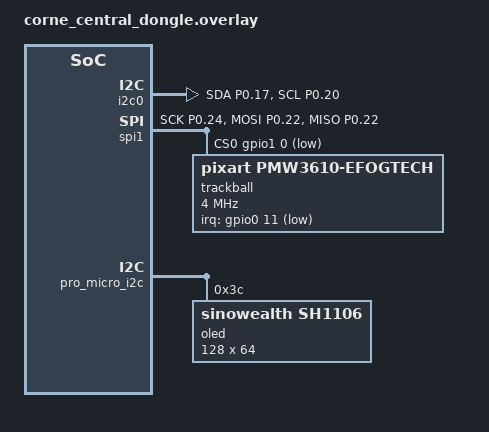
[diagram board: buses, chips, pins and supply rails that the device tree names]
#include "corne.dtsi"
#include <zephyr/dt-bindings/input/input-event-codes.h>

#include <dt-bindings/zmk/input_transform.h>

&pinctrl {
    i2c0_default: i2c0_default {
        group1 {
            psels = <NRF_PSEL(TWIM_SDA, 0, 17)>,
                <NRF_PSEL(TWIM_SCL, 0, 20)>;
        };
    };

    i2c0_sleep: i2c0_sleep {
        group1 {
            psels = <NRF_PSEL(TWIM_SDA, 0, 17)>,
                <NRF_PSEL(TWIM_SCL, 0, 20)>;
            low-power-enable;
        };
    };

    spi1_default: spi1_default {
        group1 {
            psels = <NRF_PSEL(SPIM_SCK, 0, 24)>,
                <NRF_PSEL(SPIM_MOSI, 0, 22)>,
                <NRF_PSEL(SPIM_MISO, 0, 22)>;
        };
    };

    spi1_sleep: spi1_sleep {
        group1 {
            psels = <NRF_PSEL(SPIM_SCK, 0, 24)>,
                <NRF_PSEL(SPIM_MOSI, 0, 22)>,
                <NRF_PSEL(SPIM_MISO, 0, 22)>;
            low-power-enable;
        };
    };
};

&i2c0 {
    compatible = "nordic,nrf-twi";
    pinctrl-0 = <&i2c0_default>;
    pinctrl-1 = <&i2c0_sleep>;
    pinctrl-names = "default", "sleep";
};

&spi1 {
  status = "okay";
  compatible = "nordic,nrf-spim";
  pinctrl-0 = <&spi1_default>;
  pinctrl-1 = <&spi1_sleep>;
  pinctrl-names = "default", "sleep";
};

/ {
    chosen {
        zmk,kscan = &mock_kscan;
        zephyr,display = &oled;
    };

    mock_kscan: kscan_1 {
        compatible = "zmk,kscan-mock";
        columns = <0>;
        rows = <0>;
        events = <0>;
    };
};

/delete-node/ &default_kscan;

&pro_micro_i2c {
    status = "okay";

    oled: sh1106@3c {
        compatible = "sinowealth,sh1106";
        reg = <0x3c>;
        width = <128>;
        height = <64>;
        segment-offset = <2>;
        page-offset = <0>;
        display-offset = <0>;
        multiplex-ratio = <63>;
        segment-remap;
        com-invdir;
        inversion-on;
        prechargep = <0x22>;
    };
};

&spi1 {
    cs-gpios = <&gpio1 0 GPIO_ACTIVE_LOW>;

    trackball: trackball@0 {
        status = "okay";
        compatible = "pixart,pmw3610-efogtech";
        reg = <0>;
        spi-max-frequency = <4000000>;
        irq-gpios = <&gpio0 11 (GPIO_ACTIVE_LOW | GPIO_PULL_UP)>;
        cpi = <600>;
        x-invert;
        evt-type = <INPUT_EV_REL>;
        x-input-code = <INPUT_REL_X>;
        y-input-code = <INPUT_REL_Y>;

        force-high-performance;
        force-awake;
    };
};

/ {
  trackball_listener {
    status = "okay";
    device = <&trackball>;
	input-processors = <&zip_temp_layer 3 1000>;
  };
};
